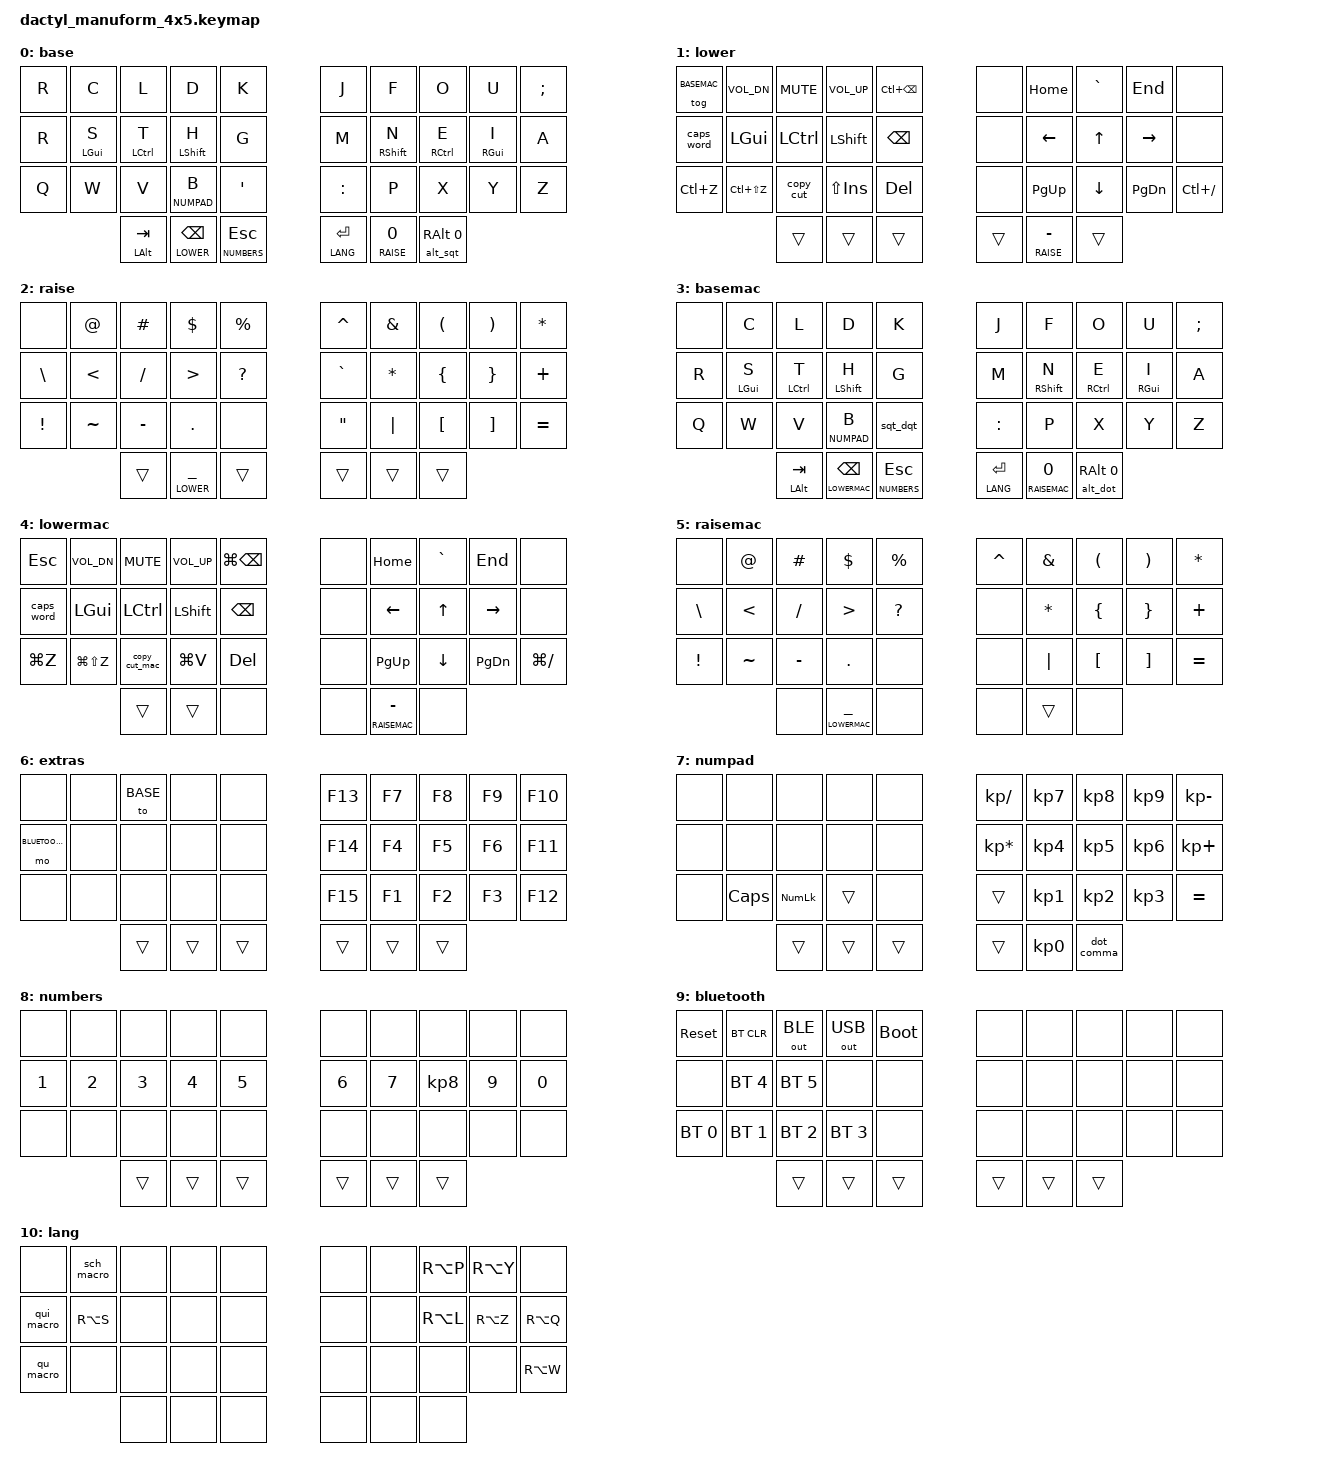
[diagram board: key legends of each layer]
#include <behaviors.dtsi>
#include <dt-bindings/zmk/keys.h>
#include <dt-bindings/zmk/bt.h>
#include <dt-bindings/zmk/outputs.h>
#include "../zmk-nodefree-config/helper.h"
#include "../zmk-nodefree-config/keypos_def/keypos_36keys.h"

#define BASE      0
#define LOWER     1
#define RAISE     2

#define BASEMAC   3
#define LOWERMAC  4
#define RAISEMAC  5

#define EXTRAS    6
#define NUMPAD    7
#define NUMBERS   8
#define BLUETOOTH 9
#define LANG      10


#define KEYS_L LT0 LT1 LT2 LT3 LT4 LM0 LM1 LM2 LM3 LM4 LB0 LB1 LB2 LB3 LB4  // left-hand keys
#define KEYS_R RT0 RT1 RT2 RT3 RT4 RM0 RM1 RM2 RM3 RM4 RB0 RB1 RB2 RB3 RB4  // right-hand keys
#define THUMBS_L LH2 LH1 LH0
#define THUMBS_R RH0 RH1 RH2

/ {
    conditional_layers {
        compatible = "zmk,conditional-layers";
        tri_layer {
            if-layers = <LOWER RAISE>;
            then-layer = <EXTRAS>;
        };
        tri_layer_mac {
            if-layers = <LOWERMAC RAISEMAC>;
            then-layer = <EXTRAS>;
        };
    };
};


#define XXX &none
#define ___ &trans

#undef COMBO_TERM
#define COMBO_TERM 40

// ZMK_COMBO(comboColon, &kp COLON, RB1 RB2, 0)
// ZMK_COMBO(comboSingleQuote, &kp SINGLE_QUOTE, RT1 RT2, 0)
// ZMK_COMBO(comboDoubleQuote, &kp DOUBLE_QUOTES,  RT2 RT3, 0)
ZMK_COMBO(comboDot,   &kp DOT, RB2 RB3, 0 1 2 3 4 5 6 7 8 9 10)
ZMK_COMBO(comboComma, &kp COMMA, RB1 RB2, 0 1 2 3 4 5 6 7 8 9 10)

#define MAKE_HRM(NAME, HOLD, TAP, TRIGGER_POS) \
    ZMK_BEHAVIOR(NAME, hold_tap, \
        flavor = "balanced"; \
        tapping-term-ms = <280>; \
        quick-tap-ms = <175>; \
        bindings = <HOLD>, <TAP>; \
        hold-trigger-key-positions = <TRIGGER_POS>; \
        hold-trigger-on-release; \
        hold-while-undecided; \
    )

// left-hand HRMs
MAKE_HRM(hml, &kp, &kp, KEYS_R THUMBS_L THUMBS_R)

// right-hand HRMs
MAKE_HRM(hmr, &kp, &kp, KEYS_L THUMBS_L THUMBS_R)

&lt {
  tapping-term-ms = <280>;
  quick-tap-ms = <175>; // repeat on tap-into-hold
  flavor = "balanced";
};

&mt {
  tapping-term-ms = <280>;
  quick-tap-ms = <200>; // repeat on tap-into-hold
  flavor = "balanced";
};


// long-tap action on hold, short-tap action on all interrupts
// flavor = "tap-preferred";
// #define MT_CORE \
//     flavor = "balanced"; \
//     tapping-term-ms = <220>; \
//     quick-tap-ms = <220>; \
//     hold-trigger-key-positions = <0>;

// &mt { MT_CORE };

// ZMK_BEHAVIOR(mt_home, hold_tap, bindings = <&masked_home>, <&kp>; MT_CORE)
// ZMK_BEHAVIOR(mt_end,  hold_tap,  bindings = <&masked_end>, <&kp>; MT_CORE)

// #define NAV_LEFT  &mt_home 0   LEFT    // tap: left  | long-tap: beginning of line
// #define NAV_RIGHT &mt_end 0    RIGHT   // tap: right | long-tap: end       of line
// #define NAV_UP    &mt LC(HOME) UP      // tap: up    | long-tap: beginning of document
// #define NAV_DOWN  &mt LC(END)  DOWN    // tap: down  | long-tap: end       of document
// #define NAV_BSPC  &mt LC(BSPC) BSPC    // tap: bspc  | long-tap: delete word backward
// #define NAV_DEL   &mt LC(DEL)  DEL     // tap: del   | long-tap: delete word forward

// mask CTRL when holding left/right to avoid accidental jumps to beginning/end of document
#define MASK_MODS(NAME, MODS, BINDING) \
    ZMK_BEHAVIOR(NAME, mod_morph, \
        bindings = <BINDING>, <BINDING>; \
        mods = <MODS>; \
    )
MASK_MODS(masked_home, (MOD_LCTL), &kp HOME)
MASK_MODS(masked_end,  (MOD_LCTL), &kp END)

// ----------------------------
ZMK_BEHAVIOR(lt_spc, hold_tap,
    flavor = "balanced";
    tapping-term-ms = <200>;
    quick-tap-ms = <175>;
    bindings = <&mo>, <&spc_morph>;
)
ZMK_BEHAVIOR(spc_morph, mod_morph,
    bindings = <&kp SPACE>, <&dot_spc>;
    mods = <(MOD_LSFT|MOD_RSFT)>;
)
ZMK_BEHAVIOR(dot_spc, macro,
    wait-ms = <0>;
    tap-ms = <5>;
    bindings = <&kp DOT &kp SPACE &sk LSHFT>;
)
// ----------------------------
// ----------------------------
ZMK_BEHAVIOR(alt_dot, hold_tap,
    flavor = "balanced";
    tapping-term-ms = <200>;
    bindings = <&kp>, <&alt_morph>;
    hold-while-undecided;
)

ZMK_BEHAVIOR(alt_morph, mod_morph,
    bindings = <&kp DOT>, <&kp COMMA>;
    mods = <(MOD_LSFT|MOD_RSFT)>;
)
// ----------------------------

// ----------------------------
ZMK_BEHAVIOR(alt_sqt, hold_tap,
    flavor = "balanced";
    tapping-term-ms = <200>;
    bindings = <&kp>, <&alt_morph_sqt>;
    hold-while-undecided;
)

ZMK_BEHAVIOR(alt_morph_sqt, mod_morph,
    bindings = <&kp SQT>, <&kp COMMA>;
    mods = <(MOD_LSFT|MOD_RSFT)>;
)
// ----------------------------

// ----------------------------
ZMK_BEHAVIOR(copy_cut, tap_dance,
    tapping-term-ms = <200>;
    bindings = <&kp LC(INS)>, <&kp LC(X)>;
)

ZMK_BEHAVIOR(copy_cut_mac, tap_dance,
    tapping-term-ms = <200>;
    bindings = <&kp LG(C)>, <&kp LG(X)>;
)

ZMK_BEHAVIOR(dot_comma, tap_dance,
    tapping-term-ms = <200>;
    bindings = <&kp DOT>, <&kp COMMA>;
)

ZMK_BEHAVIOR(sqt_dqt, tap_dance,
    tapping-term-ms = <200>;
    bindings = <&kp SQT>, <&kp DQT>;
)
// ----------------------------

ZMK_BEHAVIOR(qu_macro, macro,
    wait-ms = <0>;
    tap-ms = <5>;
    bindings = <&kp Q>, <&kp U>;
)
ZMK_BEHAVIOR(qui_macro, macro,
    wait-ms = <0>;
    tap-ms = <5>;
    bindings = <&kp Q>, <&kp U>, <&kp I>;
)
ZMK_BEHAVIOR(sch_macro, macro,
    wait-ms = <0>;
    tap-ms = <5>;
    bindings = <&kp S>, <&kp C>, <&kp H>;
)


// -------------------------------------------------------------------
// Linux start
// -------------------------------------------------------------------
ZMK_LAYER(base,
  &kp R         &kp C         &kp L           &kp D         &kp K                 &kp J         &kp F         &kp O         &kp U         &kp SEMI
  &kp R         &hml LGUI S   &hml LCTRL T    &hml LSHIFT H &kp G                 &kp M         &hmr RSHIFT N &hmr RCTRL E  &hmr RGUI I   &kp A
  &kp Q         &kp W         &kp V           &lt NUMPAD B  &kp SQT               &kp COLON     &kp P         &kp X         &kp Y         &kp Z
                              &mt LALT TAB    &lt LOWER BSPC  &lt NUMBERS ESC     &lt LANG RET  &lt_spc RAISE 0  &alt_sqt RALT 0
)

ZMK_LAYER(lower,
  &tog BASEMAC  &kp K_VOL_DN  &kp K_MUTE      &kp K_VOL_UP  &kp LC(BSPC)          XXX           &kp HOME      &kp GRAVE     &kp END       XXX
  &caps_word    &kp LGUI      &kp LCTRL       &kp LSHIFT    &kp BSPC              XXX           &kp LEFT      &kp UP        &kp RIGHT     XXX
  &kp LC(Z)     &kp LC(LS(Z)) &copy_cut       &kp LS(INS)   &kp DEL               XXX           &kp PG_UP     &kp DOWN      &kp PG_DN     &kp LC(SLASH)
                              ___             ___           ___                   ___           &lt RAISE MINUS     ___
)

ZMK_LAYER(raise,
  XXX           &kp AT        &kp HASH        &kp DOLLAR    &kp PERCENT           &kp CARET     &kp AMPS      &kp LPAR      &kp RPAR      &kp ASTERISK
  &kp BACKSLASH &kp LT        &kp SLASH       &kp GT        &kp QMARK             &kp GRAVE     &kp ASTERISK  &kp LBRC      &kp RBRC      &kp PLUS
  &kp EXCL      &kp TILDE     &kp MINUS       &kp DOT       XXX                   &kp DQT       &kp PIPE      &kp LBKT      &kp RBKT      &kp EQUAL
                              ___           &lt LOWER UNDERSCORE  ___             ___           ___           ___
)
// -------------------------------------------------------------------
// Linux end
// -------------------------------------------------------------------


// -------------------------------------------------------------------
// Mac start
// -------------------------------------------------------------------
ZMK_LAYER(basemac,
  XXX           &kp C         &kp L           &kp D         &kp K                 &kp J         &kp F         &kp O         &kp U         &kp SEMI
  &kp R         &hml LGUI S   &hml LCTRL T    &hml LSHIFT H &kp G                 &kp M         &hmr RSHIFT N &hmr RCTRL E  &hmr RGUI I   &kp A
  &kp Q         &kp W         &kp V           &lt NUMPAD B  &sqt_dqt              &kp COLON     &kp P         &kp X         &kp Y         &kp Z
                              &mt LALT TAB    &lt LOWERMAC BSPC  &lt NUMBERS ESC  &lt LANG RET  &lt_spc RAISEMAC 0  &alt_dot RALT 0
)

ZMK_LAYER(lowermac,
  &kp ESC       &kp K_VOL_DN  &kp K_MUTE      &kp K_VOL_UP  &kp LG(BSPC)          XXX           &kp HOME      &kp GRAVE     &kp END       XXX
	&caps_word    &kp LGUI      &kp LCTRL       &kp LSHIFT    &kp BSPC              XXX           &kp LEFT      &kp UP        &kp RIGHT     XXX
  &kp LG(Z)     &kp LG(LS(Z)) &copy_cut_mac   &kp LG(V)     &kp DEL               XXX           &kp PG_UP     &kp DOWN      &kp PG_DN     &kp LG(SLASH)
                              ___             ___           XXX                   XXX           &lt RAISEMAC MINUS     XXX
)

ZMK_LAYER(raisemac,
  XXX           &kp AT        &kp HASH        &kp DOLLAR    &kp PERCENT           &kp CARET     &kp AMPS      &kp LPAR      &kp RPAR      &kp ASTERISK
  &kp BACKSLASH &kp LT        &kp SLASH       &kp GT        &kp QMARK             XXX           &kp ASTERISK  &kp LBRC      &kp RBRC      &kp PLUS
  &kp EXCL      &kp TILDE     &kp MINUS       &kp DOT       XXX                   XXX           &kp PIPE      &kp LBKT      &kp RBKT      &kp EQUAL
                              XXX           &lt LOWERMAC UNDERSCORE  XXX          XXX           ___           XXX
)
// -------------------------------------------------------------------
// Mac end
// -------------------------------------------------------------------

ZMK_LAYER(extras,
  XXX           XXX           &to BASE        XXX           XXX                   &kp F13       &kp F7        &kp F8        &kp F9        &kp F10
  &mo BLUETOOTH XXX           XXX             XXX           XXX                   &kp F14       &kp F4        &kp F5        &kp F6        &kp F11
  XXX           XXX           XXX             XXX           XXX                   &kp F15       &kp F1        &kp F2        &kp F3        &kp F12
                              ___             ___           ___                   ___           ___           ___
)

ZMK_LAYER(numpad,
  XXX           XXX           XXX             XXX           XXX                   &kp KP_DIVIDE   &kp KP_N7   &kp KP_N8   &kp KP_N9   &kp KP_MINUS
  XXX           XXX           XXX             XXX           XXX                   &kp KP_MULTIPLY &kp KP_N4   &kp KP_N5   &kp KP_N6   &kp KP_PLUS
  XXX           &kp CAPSLOCK  &kp KP_NUMLOCK  ___           XXX                   ___             &kp KP_N1   &kp KP_N2   &kp KP_N3   &kp EQL
                              ___             ___           ___                   ___             &kp KP_N0   &dot_comma
)

ZMK_LAYER(numbers,
  XXX           XXX           XXX             XXX           XXX                     XXX           XXX           XXX         XXX           XXX
  &kp NUMBER_1  &kp NUMBER_2  &kp NUMBER_3    &kp NUMBER_4  &kp NUMBER_5            &kp NUMBER_6  &kp NUMBER_7  &kp KP_N8   &kp NUMBER_9  &kp NUMBER_0
  XXX           XXX           XXX             XXX           XXX                     XXX           XXX           XXX         XXX           XXX
                              ___             ___           ___                     ___           ___           ___
)

ZMK_LAYER(bluetooth,
  &sys_reset    &bt BT_CLR    &out OUT_BLE  &out OUT_USB  &bootloader             XXX             XXX         XXX         XXX         XXX
  XXX           &bt BT_SEL 4  &bt BT_SEL 5  XXX           XXX                     XXX             XXX         XXX         XXX         XXX
  &bt BT_SEL 0  &bt BT_SEL 1  &bt BT_SEL 2  &bt BT_SEL 3  XXX                     XXX             XXX         XXX         XXX         XXX
                              ___             ___           ___                   ___             ___           ___
)

ZMK_LAYER(lang,
  XXX           &sch_macro    XXX             XXX           XXX                   XXX           XXX           &kp RA(P)   &kp RA(Y)     XXX
  &qui_macro    &kp RA(S)     XXX             XXX           XXX                   XXX           XXX           &kp RA(L)   &kp RA(Z)     &kp RA(Q)
  &qu_macro     XXX           XXX             XXX           XXX                   XXX           XXX           XXX         XXX           &kp RA(W)
                              XXX             XXX           XXX                   XXX           XXX           XXX
)

// ZMK_LAYER(raise,
//   XXX           XXX           XXX             XXX           XXX             XXX           XXX           XXX           XXX           XXX
//   XXX           XXX           XXX             XXX           XXX             XXX           XXX           XXX           XXX           XXX
//   XXX           XXX           XXX             XXX           XXX             XXX           XXX           XXX           XXX           XXX
//                               XXX             XXX           XXX             XXX           XXX           XXX
// )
